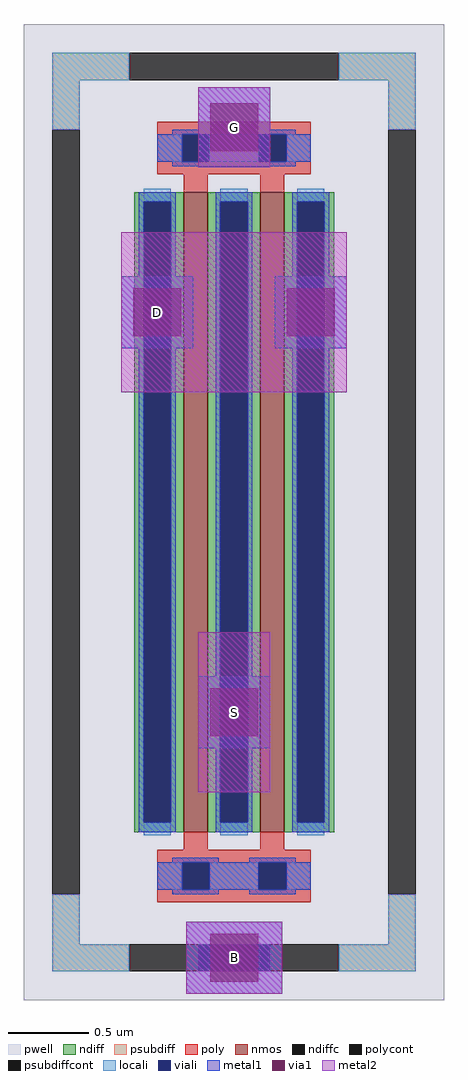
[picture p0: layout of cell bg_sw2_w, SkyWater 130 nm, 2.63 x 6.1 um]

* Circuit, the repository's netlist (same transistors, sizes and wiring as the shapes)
* NGSPICE file created from bg_sw2_w.ext - technology: sky130A

.subckt bg_sw2 B D0 G S1 a_63_n400#
X0 a_63_n400# G S1 B sky130_fd_pr__nfet_01v8 ad=1.24 pd=8.62 as=0.66 ps=4.33 w=4 l=0.15
X1 S1 G D0 B sky130_fd_pr__nfet_01v8 ad=0.66 pd=4.33 as=1.24 ps=8.62 w=4 l=0.15
.ends

.subckt bg_sw2_w D S G B
Xu_dev B D G S D bg_sw2
.ends

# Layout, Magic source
magic
tech sky130A
magscale 1 2
use bg_sw2 u_dev
transform 1 0 0 0 1 0
box -263 -610 263 610
<< viali >>
rect -45 -574 45 -540
<< metal1 >>
rect -141 205 -51 295
rect 51 205 141 295
rect -45 -295 45 -205
rect -45 432 45 531
rect -60 -602 60 -512
<< via1 >>
rect -126 220 -66 280
rect 66 220 126 280
rect -30 -280 30 -220
rect -30 451 30 511
rect -30 -587 30 -527
<< metal2 >>
rect -141 150 141 350
rect -45 -350 45 -150
rect -45 431 45 531
rect -60 -602 60 -512
<< labels >>
rlabel metal2 -96 250 -96 250 0 D
port 1 nsew
rlabel metal2 0 -250 0 -250 0 S
port 2 nsew
rlabel metal2 0 481 0 481 0 G
port 3 nsew
rlabel metal2 0 -557 0 -557 0 B
port 4 nsew
<< end >>

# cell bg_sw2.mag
magic
tech sky130A
magscale 1 2
<< pwell >>
rect -263 -610 263 610
<< nmos >>
rect -63 -400 -33 400
rect 33 -400 63 400
<< ndiff >>
rect -125 388 -63 400
rect -125 -388 -113 388
rect -79 -388 -63 388
rect -125 -400 -63 -388
rect -33 388 33 400
rect -33 -388 -17 388
rect 17 -388 33 388
rect -33 -400 33 -388
rect 63 388 125 400
rect 63 -388 79 388
rect 113 -388 125 388
rect 63 -400 125 -388
<< ndiffc >>
rect -113 -388 -79 388
rect -17 -388 17 388
rect 79 -388 113 388
<< psubdiff >>
rect -227 540 -131 574
rect 131 540 227 574
rect -227 478 -193 540
rect 193 478 227 540
rect -227 -540 -193 -478
rect 193 -540 227 -478
rect -227 -574 -131 -540
rect 131 -574 227 -540
<< psubdiffcont >>
rect -131 540 131 574
rect -227 -478 -193 478
rect 193 -478 227 478
rect -131 -574 131 -540
<< poly >>
rect -96 472 96 488
rect -96 438 -65 472
rect -31 438 31 472
rect 65 438 96 472
rect -96 422 96 438
rect -63 400 -33 422
rect 33 400 63 422
rect -63 -422 -33 -400
rect 33 -422 63 -400
rect -96 -438 96 -422
rect -96 -472 -65 -438
rect -31 -472 31 -438
rect 65 -472 96 -438
rect -96 -488 96 -472
<< polycont >>
rect -65 438 -31 472
rect 31 438 65 472
rect -65 -472 -31 -438
rect 31 -472 65 -438
<< locali >>
rect -227 540 -131 574
rect 131 540 227 574
rect -227 478 -193 540
rect 193 478 227 540
rect -96 438 -65 472
rect -31 438 31 472
rect 65 438 96 472
rect -113 388 -79 404
rect -113 -404 -79 -388
rect -17 388 17 404
rect -17 -404 17 -388
rect 79 388 113 404
rect 79 -404 113 -388
rect -96 -472 -65 -438
rect -31 -472 31 -438
rect 65 -472 96 -438
rect -227 -540 -193 -478
rect 193 -540 227 -478
rect -227 -574 -131 -540
rect 131 -574 227 -540
<< viali >>
rect -65 438 -31 472
rect 31 438 65 472
rect -113 -388 -79 388
rect -17 -388 17 388
rect 79 -388 113 388
rect -65 -472 -31 -438
rect 31 -472 65 -438
<< metal1 >>
rect -77 472 -19 478
rect 19 472 77 478
rect -96 438 -65 472
rect -31 438 31 472
rect 65 438 96 472
rect -77 432 -19 438
rect 19 432 77 438
rect -119 388 -73 400
rect -119 -388 -113 388
rect -79 -388 -73 388
rect -119 -400 -73 -388
rect -23 388 23 400
rect -23 -388 -17 388
rect 17 -388 23 388
rect -23 -400 23 -388
rect 73 388 119 400
rect 73 -388 79 388
rect 113 -388 119 388
rect 73 -400 119 -388
rect -77 -438 -19 -432
rect 19 -438 77 -432
rect -96 -472 -65 -438
rect -31 -472 31 -438
rect 65 -472 96 -438
rect -77 -478 -19 -472
rect 19 -478 77 -472
<< labels >>
rlabel psubdiffcont 0 -557 0 -557 0 B
port 1 nsew
rlabel ndiffc -96 0 -96 0 0 D0
port 2 nsew
rlabel polycont -48 455 -48 455 0 G
port 3 nsew
rlabel ndiffc 0 0 0 0 0 S1
port 4 nsew
rlabel polycont 48 455 48 455 0 G
port 3 nsew
<< properties >>
string FIXED_BBOX -210 -557 210 557
<< end >>
